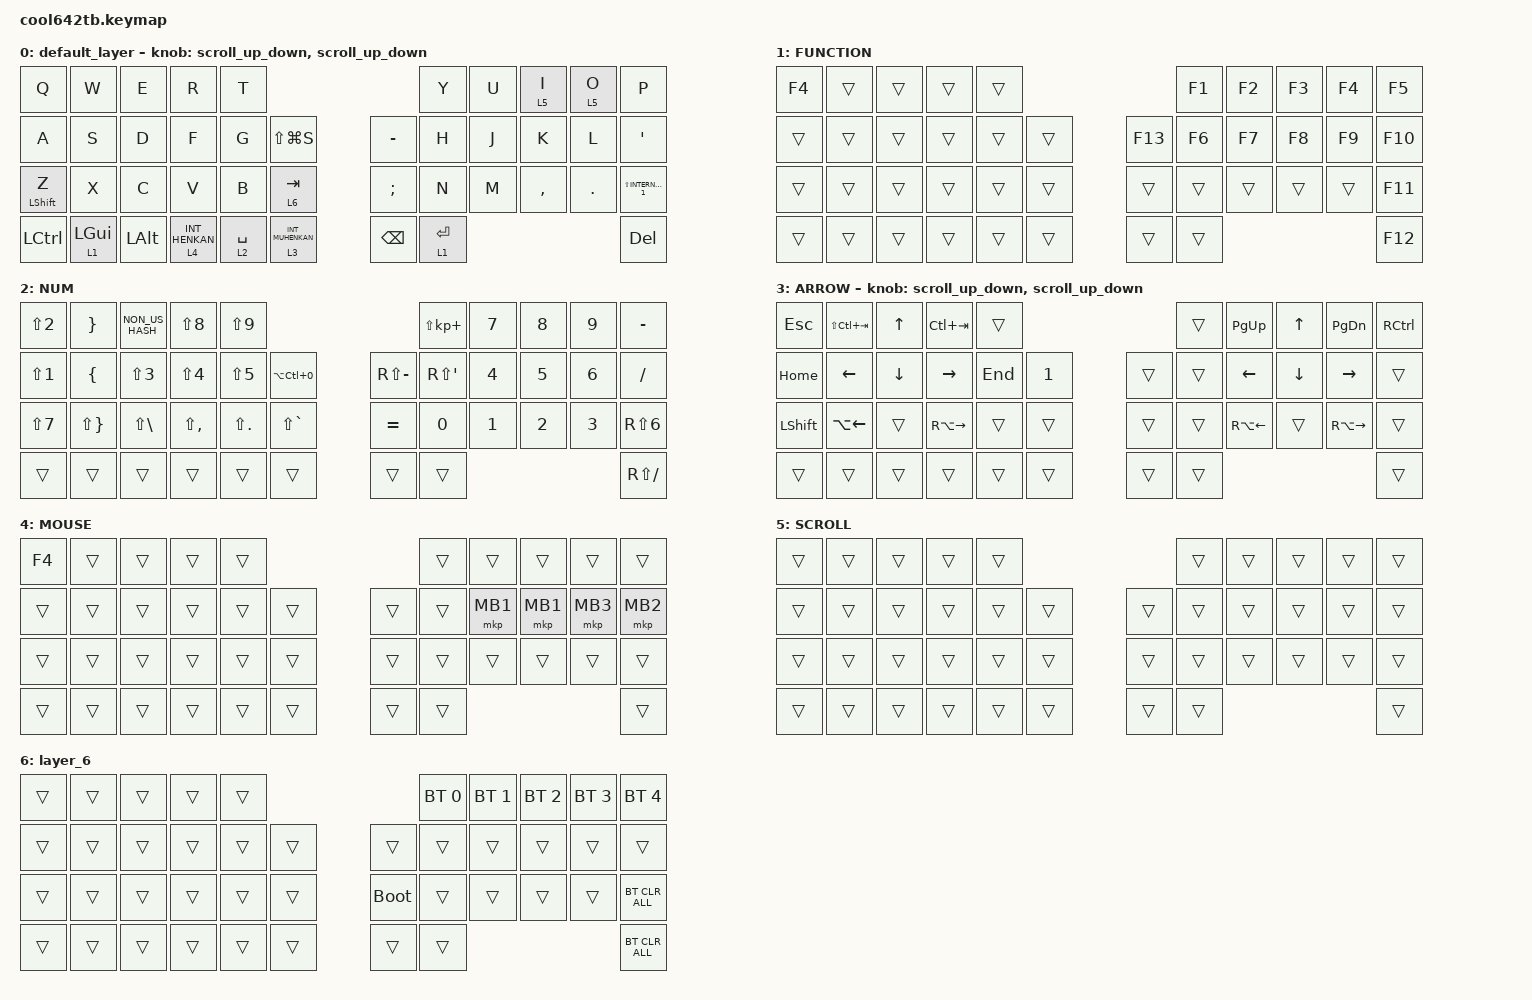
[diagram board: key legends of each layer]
#include <behaviors.dtsi>
#include <dt-bindings/zmk/bt.h>
#include <dt-bindings/zmk/keys.h>
#include <dt-bindings/zmk/pointing.h>

#define MOUSE 4
#define SCROLL 5
#define NUM 6

&mt {
    flavor = "balanced";
    quick-tap-ms = <0>;
};

/ {
    combos {
        compatible = "zmk,combos";

        comb1 {
            bindings = <&kp TAB>;
            key-positions = <11 12>;
        };

        comb2 {
            bindings = <&kp LS(TAB)>;
            key-positions = <12 13>;
        };

        comb3 {
            bindings = <&to_layer_0 INT_MUHENKAN>;
            key-positions = <11 10>;
        };

        comb4 {
            bindings = <&kp DOUBLE_QUOTES>;
            key-positions = <20 21>;
        };

        comb5 {
            bindings = <&kp EQUAL>;
            key-positions = <24 25>;
        };
    };

    macros {
        to_layer_0: to_layer_0 {
            compatible = "zmk,behavior-macro-one-param";
            #binding-cells = <1>;
            bindings = <&to 0 &macro_param_1to1 &kp MACRO_PLACEHOLDER>;
            label = "TO_LAYER_0";
        };
    };

    behaviors {
        lt_to_layer_0: lt_to_layer_0 {
            compatible = "zmk,behavior-hold-tap";
            label = "LAYER_TAP_TO_0";
            bindings = <&mo>, <&to_layer_0>;

            #binding-cells = <2>;
            tapping-term-ms = <200>;
        };

        scroll_up_down: behavior_sensor_rotate_mouse_wh {
            compatible = "zmk,behavior-sensor-rotate";
            label = "SCROLL_UP_DOWN";
            #sensor-binding-cells = <0>;
            bindings = <&msc SCRL_UP>, <&msc SCRL_DOWN>;

            tap-ms = <20>;
        };
    };

    keymap {
        compatible = "zmk,keymap";

        default_layer {
            bindings = <
&kp Q             &kp W           &kp E     &kp R                        &kp T                                                      &kp Y        &kp U  &lt 5 I    &lt 5 O     &kp P
&kp A             &kp S           &kp D     &kp F                        &kp G        &kp LS(LG(S))                  &kp MINUS      &kp H        &kp J  &kp K      &kp L       &kp SQT
&mt LEFT_SHIFT Z  &kp X           &kp C     &kp V                        &kp B        &lt 6 TAB                      &kp SEMI       &kp N        &kp M  &kp COMMA  &kp PERIOD  &kp LS(INTERNATIONAL_1)
&kp LEFT_CONTROL  &lt 1 LEFT_GUI  &kp LALT  &lt_to_layer_0 4 INT_HENKAN  &lt 2 SPACE  &lt_to_layer_0 3 INT_MUHENKAN  &kp BACKSPACE  &lt 1 ENTER                                &kp DELETE
            >;

            sensor-bindings = <&scroll_up_down>, <&scroll_up_down>;
        };

        FUNCTION {
            bindings = <
&kp F4  &trans  &trans  &trans  &trans                   &kp F1  &kp F2  &kp F3  &kp F4  &kp F5
&trans  &trans  &trans  &trans  &trans  &trans  &kp F13  &kp F6  &kp F7  &kp F8  &kp F9  &kp F10
&trans  &trans  &trans  &trans  &trans  &trans  &trans   &trans  &trans  &trans  &trans  &kp F11
&trans  &trans  &trans  &trans  &trans  &trans  &trans   &trans                          &kp F12
            >;
        };

        NUM {
            bindings = <
&kp LS(NUMBER_2)  &kp RIGHT_BRACE      &kp NON_US_HASH    &kp LS(N8)        &kp LS(N9)                                             &kp LS(KP_PLUS)     &kp N7        &kp N8        &kp N9        &kp MINUS
&kp LS(NUMBER_1)  &kp LEFT_BRACE       &kp LS(NUMBER_3)   &kp LS(NUMBER_4)  &kp LS(NUMBER_5)  &kp LA(LC(NUMBER_0))  &kp RS(MINUS)  &kp RS(APOSTROPHE)  &kp NUMBER_4  &kp N5        &kp NUMBER_6  &kp SLASH
&kp LS(NUMBER_7)  &kp LS(RIGHT_BRACE)  &kp LS(BACKSLASH)  &kp LS(COMMA)     &kp LS(PERIOD)    &kp LS(GRAVE)         &kp EQUAL      &kp NUMBER_0        &kp NUMBER_1  &kp NUMBER_2  &kp NUMBER_3  &kp RS(NUMBER_6)
&trans            &trans               &trans             &trans            &trans            &trans                &trans         &trans                                                        &kp RS(SLASH)
            >;
        };

        ARROW {
            bindings = <
&kp ESC         &kp LS(LC(TAB))     &kp UP_ARROW  &kp LC(TAB)          &trans                   &trans  &kp PG_UP           &kp UP_ARROW    &kp PAGE_DOWN        &kp RIGHT_CONTROL
&kp HOME        &kp LEFT            &kp DOWN      &kp RIGHT_ARROW      &kp END  &kp N1  &trans  &trans  &kp LEFT_ARROW      &kp DOWN_ARROW  &kp RIGHT_ARROW      &trans
&kp LEFT_SHIFT  &kp LA(LEFT_ARROW)  &trans        &kp RA(RIGHT_ARROW)  &trans   &trans  &trans  &trans  &kp RA(LEFT_ARROW)  &trans          &kp RA(RIGHT_ARROW)  &trans
&trans          &trans              &trans        &trans               &trans   &trans  &trans  &trans                                                           &trans
            >;

            sensor-bindings = <&scroll_up_down>, <&scroll_up_down>;
        };

        MOUSE {
            bindings = <
&kp F4  &trans  &trans  &trans  &trans                  &trans  &trans    &trans    &trans    &trans
&trans  &trans  &trans  &trans  &trans  &trans  &trans  &trans  &mkp MB1  &mkp MB1  &mkp MB3  &mkp MB2
&trans  &trans  &trans  &trans  &trans  &trans  &trans  &trans  &trans    &trans    &trans    &trans
&trans  &trans  &trans  &trans  &trans  &trans  &trans  &trans                                &trans
            >;
        };

        SCROLL {
            bindings = <
&trans  &trans  &trans  &trans  &trans                  &trans  &trans  &trans  &trans  &trans
&trans  &trans  &trans  &trans  &trans  &trans  &trans  &trans  &trans  &trans  &trans  &trans
&trans  &trans  &trans  &trans  &trans  &trans  &trans  &trans  &trans  &trans  &trans  &trans
&trans  &trans  &trans  &trans  &trans  &trans  &trans  &trans                          &trans
            >;
        };

        layer_6 {
            bindings = <
&trans  &trans  &trans  &trans  &trans                       &bt BT_SEL 0  &bt BT_SEL 1  &bt BT_SEL 2  &bt BT_SEL 3  &bt BT_SEL 4
&trans  &trans  &trans  &trans  &trans  &trans  &trans       &trans        &trans        &trans        &trans        &trans
&trans  &trans  &trans  &trans  &trans  &trans  &bootloader  &trans        &trans        &trans        &trans        &bt BT_CLR_ALL
&trans  &trans  &trans  &trans  &trans  &trans  &trans       &trans                                                  &bt BT_CLR_ALL
            >;
        };
    };
};
